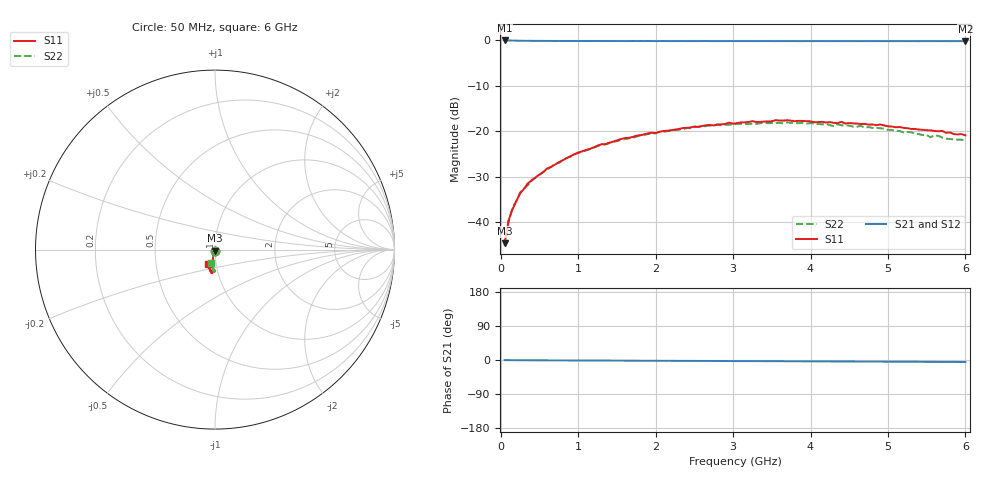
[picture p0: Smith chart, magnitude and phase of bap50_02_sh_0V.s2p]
! Created by janssen on Wed Jul 24 12:31:26 METDST 2002
# HZ S MA R 50
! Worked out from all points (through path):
!   120 points, 50 MHz to 6 GHz, reference 50 ohm
!   highest |S21| = 0.00 dB at 50 MHz (marker M1); lowest = -0.2 dB at 6 GHz (marker M2)
!   lowest |S11| = -44.7 dB at 50 MHz (marker M3), VSWR 1.01, Z = 50 - j0.582 ohm
!   |S11| at or under -10 dB: start of sweep to end of sweep
!   |S22| runs from -45.3 to -18.0 dB; largest |S21 - S12| = 0.0054
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5e7  0.005822 -88.6  1 -0.3  0.9995 -0.4  0.00541 -99.0
1e8  0.01034 -103.8  0.9988 -0.4  0.9978 -0.4  0.009863 -99.0
1.5e8  0.01368 -104.1  0.9969 -0.5  0.9964 -0.5  0.01424 -103.0
2.5e8  0.02062 -107.7  0.9932 -0.7  0.9936 -0.7  0.0211 -105.8
3.5e8  0.02663 -107.1  0.9919 -0.8  0.9912 -0.8  0.02535 -106.9
4e8  0.02864 -108.1  0.9906 -0.8  0.9903 -0.8  0.02908 -106.8
6e8  0.03894 -104.9  0.988 -0.9  0.9878 -1.0  0.03786 -104.9
7e8  0.0428 -104.9  0.9868 -1.0  0.9868 -1.0  0.04386 -103.8
1.05e9  0.06012 -102.3  0.9864 -1.2  0.9867 -1.2  0.05977 -100.9
1.55e9  0.08188 -98.6  0.9855 -1.7  0.9849 -1.7  0.08007 -95.9
2.05e9  0.09857 -96.4  0.985 -2.1  0.9856 -2.1  0.09851 -94.4
3.05e9  0.1227 -95.6  0.9848 -2.9  0.984 -2.9  0.1204 -91.5
3.55e9  0.1324 -96.7  0.9833 -3.2  0.9834 -3.4  0.1227 -91.7
4.05e9  0.1255 -98.7  0.9841 -3.7  0.9816 -3.7  0.1209 -92.6
4.3e9  0.1239 -99.2  0.9841 -3.9  0.9827 -3.9  0.1134 -93.7
4.35e9  0.1226 -99.7  0.9841 -3.9  0.9831 -4.0  0.1192 -93.5
4.4e9  0.1268 -100.4  0.9824 -3.9  0.9821 -4.0  0.1162 -93.8
5.05e9  0.1126 -105.9  0.984 -4.5  0.981 -4.6  0.1034 -95.5
5.5e9  0.1025 -107.5  0.9828 -4.8  0.9815 -4.9  0.09096 -99.8
5.55e9  0.1022 -109.1  0.9822 -4.8  0.9812 -5.0  0.08572 -98.6
5.6e9  0.1007 -109.4  0.9834 -4.9  0.9805 -5.0  0.09025 -100.0
6e9  0.08996 -116.9  0.9819 -5.4  0.9793 -5.5  0.07895 -106.9
